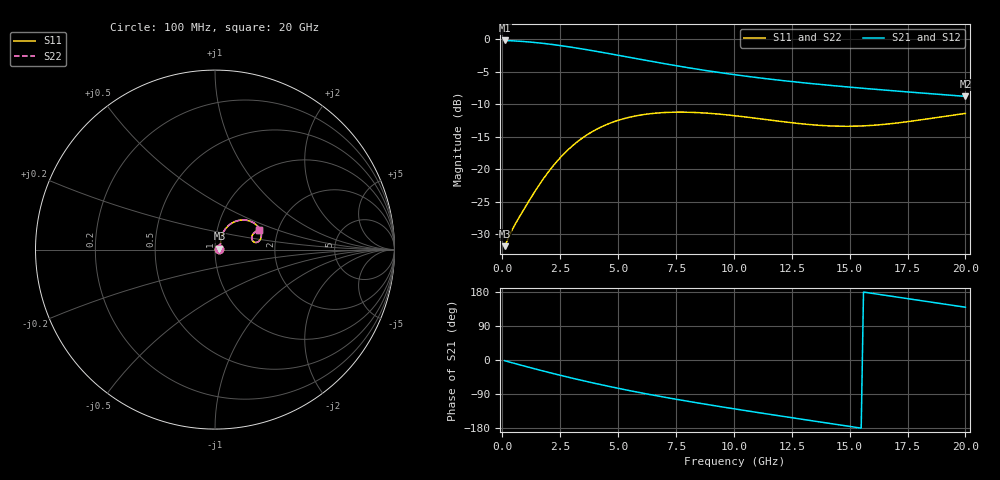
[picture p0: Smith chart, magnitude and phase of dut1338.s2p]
! Touchstone file exported from HFSS 2024.1.0
!  File:  C:/UserFiles/LocalFiles/RDL_TSV_Batchsim/temp_RDL_TSV_1338_1780391041.aedt
!  Generated:  05:18:50 PM Jun  2, 2026
!  Design:  RDL_TSV
!  Project:  temp_RDL_TSV_1338_1780391041
!  Setup:  Setup1
!  Solution:  Sweep
! Variables:
!  dtsv = 6.5um
!  hbump = 3um
!  htsv = 57.42um
!  ldown = 433.35um
!  lrdl = 544.29um
!  p = 40
!  p1 = 42.98um
!  rhole = 10um
!  subl = 3477.21um
!  t = 450um
!  tdown = 2.5um
!  trdl = 2.46um
!  viad = 10um
!  wdown = 14.12um
!  wrdl = 28.3um
!  xbump = 18um
# GHz S MA R 50.000000
! Terminal data exported
! Port[1] = TM1_1_T1
! Port[2] = TM1_4_T1
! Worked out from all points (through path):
!   200 points, 100 MHz to 20 GHz, reference 50 ohm
!   highest |S21| = -0.22 dB at 100 MHz (marker M1); lowest = -8.8 dB at 20 GHz (marker M2)
!   group delay of S21, straight-line fit = 29.2 ps
!   lowest |S11| = -31.9 dB at 100 MHz (marker M3), VSWR 1.05, Z = 52.6 + j0.554 ohm
!   |S11| at or under -10 dB: start of sweep to end of sweep
!   |S22| runs from -31.9 to -11.2 dB; largest |S21 - S12| = 9.6e-15
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0.1  0.02554 11.9  0.9749 -1.8  0.9749 -1.8  0.02554 11.9
! Gamma 0 0 0 0
! Port Impedance 50 0 50 0
0.4  0.03343 32.5  0.9698 -6.9  0.9698 -6.9  0.03346 32.2
1  0.05132 52.5  0.9544 -16.8  0.9544 -16.8  0.05125 52.4
1.5  0.07134 61.0  0.9369 -24.9  0.9369 -24.9  0.0713 61.1
1.9  0.09047 63.9  0.92 -31.1  0.92 -31.1  0.09047 63.9
2.3  0.1114 64.2  0.901 -37.3  0.901 -37.3  0.1114 64.3
2.7  0.1331 62.9  0.8804 -43.3  0.8804 -43.3  0.1332 63.0
3.5  0.1754 57.4  0.8362 -54.7  0.8362 -54.7  0.1756 57.5
4.2  0.2078 51.2  0.796 -64.3  0.796 -64.3  0.2081 51.3
5  0.237 43.8  0.7503 -74.6  0.7503 -74.6  0.2373 43.9
5.9  0.259 35.9  0.7012 -85.6  0.7012 -85.6  0.2595 35.9
6.8  0.2707 28.8  0.6559 -95.9  0.6559 -95.9  0.2713 28.9
7.6  0.274 23.4  0.6196 -104.6  0.6196 -104.6  0.2746 23.4
8.4  0.272 18.8  0.5871 -112.9  0.5871 -112.9  0.2727 18.9
9.2  0.2662 15.1  0.5583 -120.9  0.5583 -120.9  0.2669 15.2
10.1  0.2565 12.1  0.5299 -129.7  0.5299 -129.7  0.2573 12.2
11.7  0.2364 9.8  0.4882 -144.8  0.4882 -144.8  0.2373 9.9
13.4  0.2189 11.5  0.4534 -160.6  0.4534 -160.6  0.2198 11.5
15  0.2134 16.0  0.4267 -175.3  0.4267 -175.3  0.2143 15.9
16.7  0.2225 21.0  0.4024 169.2  0.4024 169.2  0.2233 20.9
18.4  0.2437 23.8  0.3809 153.7  0.3809 153.7  0.2444 23.7
20  0.268 23.8  0.3624 139.3  0.3624 139.3  0.2687 23.7
